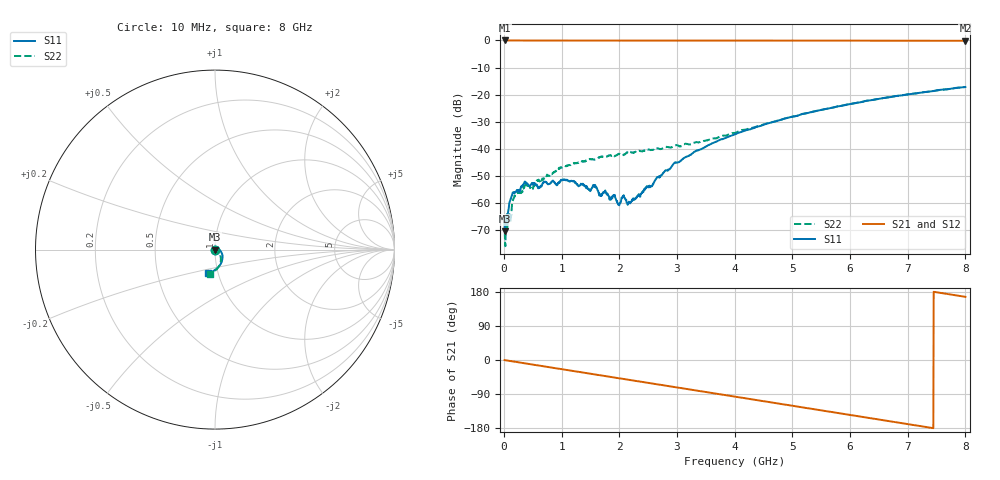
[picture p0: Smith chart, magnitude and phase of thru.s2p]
! 2-Port measurement of a thru, SMA(f)-SMA(f)
# Hz S  dB  R 50
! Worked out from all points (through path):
!   1251 points, 10 MHz to 8 GHz, reference 50 ohm
!   highest |S21| = 0.00 dB at 10 MHz (marker M1); lowest = -0.1 dB at 8 GHz (marker M2)
!   group delay of S21, straight-line fit = 67.1 ps
!   lowest |S11| = -70.4 dB at 16.39 MHz (marker M3), VSWR 1.00, Z = 50 + j0.0259 ohm
!   |S11| at or under -10 dB: start of sweep to end of sweep
!   |S22| runs from -75.9 to -17.2 dB; largest |S21 - S12| = 0.00086
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1e7  -65.75 160.9  0.00 -0.3  0.01 -0.3  -66.72 -177.1
1.6392e7  -70.41 120.9  0.00 -0.4  0.00 -0.4  -73.92 -135.1
5.4744e7  -65.27 21.6  -0.01 -1.3  -0.01 -1.3  -69.56 40.4
1.3784e8  -57.19 42.8  -0.01 -3.4  -0.01 -3.4  -60.69 62.9
2.0176e8  -56.02 56.8  -0.01 -5.0  -0.01 -5.0  -56.64 59.7
3.6156e8  -52.07 42.4  -0.02 -8.8  -0.02 -8.8  -53.60 46.1
4.894e8  -52.65 17.5  -0.02 -11.9  -0.02 -11.9  -54.58 10.8
6.1724e8  -54.21 23.0  -0.02 -15.0  -0.02 -15.0  -52.08 -1.4
1.051896e9  -51.55 -7.0  -0.03 -25.4  -0.03 -25.5  -46.34 -20.6
1.345928e9  -52.96 -25.5  -0.04 -32.5  -0.04 -32.5  -44.56 -35.2
1.57604e9  -53.62 -28.3  -0.04 -38.1  -0.04 -38.1  -44.00 -38.1
1.665528e9  -57.21 -22.5  -0.04 -40.2  -0.04 -40.2  -43.10 -40.9
1.902032e9  -57.30 -30.1  -0.04 -45.9  -0.04 -46.0  -42.54 -45.2
1.985128e9  -60.61 -2.8  -0.04 -47.9  -0.04 -48.0  -42.00 -46.7
2.074616e9  -57.10 -24.7  -0.04 -50.1  -0.04 -50.1  -42.12 -47.9
2.164104e9  -59.54 19.5  -0.04 -52.3  -0.04 -52.3  -41.23 -48.8
2.675464e9  -50.35 39.7  -0.04 -64.6  -0.04 -64.6  -39.86 -51.0
3.321056e9  -40.86 24.5  -0.04 -80.2  -0.04 -80.2  -37.60 -42.7
4.005e9  -34.67 3.5  -0.04 -96.7  -0.05 -96.7  -34.10 -38.1
5.340928e9  -26.38 -33.2  -0.05 -129.0  -0.06 -129.1  -26.39 -49.9
6.670464e9  -21.02 -71.2  -0.08 -161.2  -0.08 -161.2  -20.98 -73.5
8e9  -17.17 -107.2  -0.13 166.7  -0.13 166.6  -17.20 -100.5
